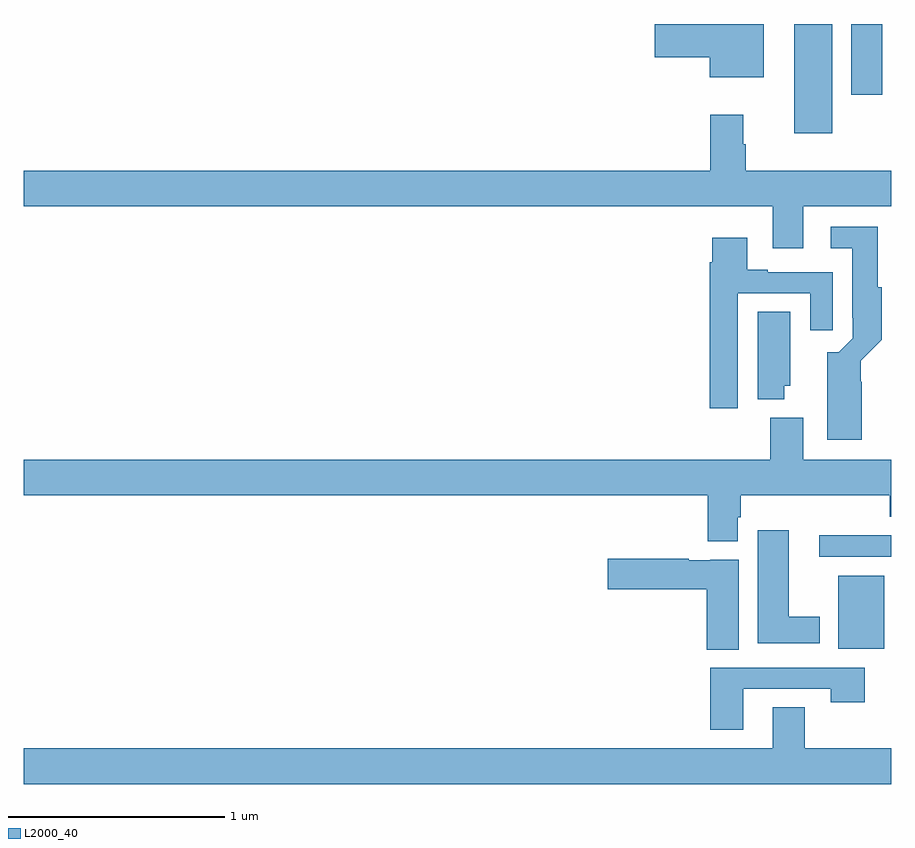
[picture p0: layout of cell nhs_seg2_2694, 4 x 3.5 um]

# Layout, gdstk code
import gdstk
lib = gdstk.Library(unit=1e-6, precision=1e-09)
def R(c, l, rs):  # rectangles x0, y0, x1, y1
    for r in rs: c.add(gdstk.rectangle(r[:2], r[2:], *l))
def P(c, l, *ps):  # polygons
    for p in ps: c.add(gdstk.Polygon(p, *l))
L2000_40 = (2000, 40)

nhs_seg2_2694 = lib.new_cell('nhs_seg2_2694')
R(nhs_seg2_2694, L2000_40, [(254.756,654.92,254.968,655.255), (254.667,655.344,255,655.442), (254.552,657.296,254.728,657.8), (254.816,657.474,254.959,657.8)])
P(nhs_seg2_2694, L2000_40, [(254.413,657.8),(253.91,657.8),(253.91,657.647),(254.162,657.647),(254.162,657.554),(254.413,657.554)],
  [(254.593,656.96),(255,656.96),(255,657.124),(254.33,657.124),(254.33,657.245),(254.317,657.245),(254.317,657.382),(254.165,657.382),(254.165,657.124),(251,657.124),(251,656.96),(254.453,656.96),(254.453,656.766),(254.593,656.766)],
  [(254.863,656.15),(254.859,656.15),(254.859,656.248),(254.956,656.345),(254.956,656.586),(254.938,656.586),(254.938,656.866),(254.721,656.866),(254.721,656.765),(254.819,656.765),(254.819,656.446),(254.823,656.446),(254.823,656.352),(254.757,656.286),(254.705,656.286),(254.705,655.883),(254.863,655.883)],
  [(254.293,656.559),(254.627,656.559),(254.627,656.388),(254.731,656.388),(254.731,656.655),(254.431,656.655),(254.431,656.668),(254.335,656.668),(254.335,656.815),(254.174,656.815),(254.174,656.702),(254.162,656.702),(254.162,656.028),(254.293,656.028)],
  [(254.506,656.133),(254.533,656.133),(254.533,656.474),(254.384,656.474),(254.384,656.069),(254.506,656.069)],
  [(254.293,655.527),(254.306,655.527),(254.306,655.628),(254.993,655.628),(254.993,655.529),(255,655.529),(255,655.792),(254.593,655.792),(254.593,655.984),(254.441,655.984),(254.441,655.792),(251,655.792),(251,655.628),(254.153,655.628),(254.153,655.415),(254.293,655.415)],
  [(254.671,655.066),(254.527,655.066),(254.527,655.465),(254.384,655.465),(254.384,654.944),(254.671,654.944)],
  [(254.296,655.33),(254.166,655.33),(254.166,655.327),(254.066,655.327),(254.066,655.335),(253.692,655.335),(253.692,655.193),(254.15,655.193),(254.15,654.916),(254.296,654.916)],
  [(254.317,654.735),(254.722,654.735),(254.722,654.672),(254.878,654.672),(254.878,654.831),(254.165,654.831),(254.165,654.546),(254.317,654.546)],
  [(255,654.46),(254.601,654.46),(254.601,654.65),(254.453,654.65),(254.453,654.46),(251,654.46),(251,654.296),(255,654.296)])

lib.write_gds('nhs_seg2_2694.gds')
